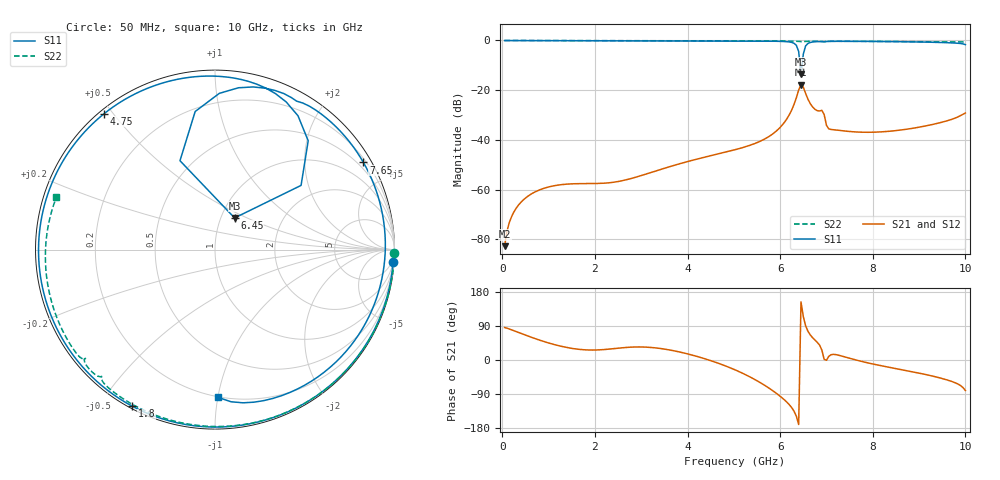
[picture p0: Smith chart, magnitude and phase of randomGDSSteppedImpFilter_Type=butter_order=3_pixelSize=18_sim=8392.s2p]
! freq	dB(S11)	phase(S11)	dB(S12)	phase(S12)
!  dB(S21)	phase(S21)	dB(S22)	phase(S22)
!S-par simulation data
#  GHz  S  DB  R 50
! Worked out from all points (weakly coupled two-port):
!   200 points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, 50 MHz to 10 GHz, reference 50 ohm
!   highest |S21| = -17.73 dB at 6.45 GHz (marker M1); lowest = -82.7 dB at 50 MHz (marker M2)
!   lowest |S11| = -13.7 dB at 6.45 GHz (marker M3), VSWR 1.52, Z = 58 + j21.4 ohm
!   |S11| at or under -10 dB: 6.43 GHz to 6.472 GHz (42.27 MHz wide, 0.655 % of centre)
!   |S22| runs from -0.6 to 0.0 dB; largest |S21 - S12| = 0
!   S11 on the Smith chart (normalised r, x): 50 MHz: 2, -30; 1.8 GHz: 0.01, -0.60; 4.75 GHz: 0.01, +0.47; 6.45 GHz: 1.16, +0.43; 7.65 GHz: 0.30, +3.65; 10 GHz: 0.20, -1.00
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0.05  -0.05 -3.8  -82.70 85.6  -82.70 85.6  -0.00 -1.2
0.25  -0.05 -19.2  -68.96 77.3  -68.96 77.3  -0.01 -5.7
0.55  -0.06 -41.5  -62.65 63.4  -62.65 63.4  -0.02 -12.5
1.1  -0.09 -78.7  -58.47 41.5  -58.47 41.5  -0.03 -24.9
1.75  -0.11 -115.3  -57.54 27.1  -57.54 27.1  -0.05 -39.2
1.8  -0.12 -117.9  -57.54 26.7  -57.54 26.7  -0.05 -40.3
3.4  -0.15 175.9  -51.96 30.6  -51.96 30.6  -0.10 -73.9
4.75  -0.20 129.2  -45.21 -12.4  -45.21 -12.4  -0.15 -100.3
5.05  -0.22 118.8  -43.80 -27.2  -43.80 -27.2  -0.16 -105.9
6.15  -0.51 72.6  -31.37 -111.8  -31.37 -111.8  -0.24 -126.5
6.35  -1.96 49.4  -23.00 -148.5  -23.00 -148.5  -0.31 -130.5
6.4  -4.46 36.7  -19.91 -170.2  -19.91 -170.2  -0.38 -131.5
6.45  -13.66 58.2  -17.73 153.6  -17.73 153.6  -0.47 -131.8
6.5  -5.48 111.5  -18.76 114.7  -18.76 114.7  -0.42 -131.9
6.55  -2.19 98.2  -21.32 90.2  -21.32 90.2  -0.35 -132.8
6.7  -0.62 76.8  -26.70 58.9  -26.70 58.9  -0.30 -135.9
6.9  -0.47 63.3  -28.10 26.5  -28.10 26.5  -0.44 -140.1
7.05  -0.38 56.6  -35.55 9.6  -35.55 9.6  -0.34 -141.5
7.65  -0.37 30.4  -36.80 -0.4  -36.80 -0.4  -0.34 -153.0
8.35  -0.45 0.9  -36.52 -19.2  -36.52 -19.2  -0.41 -165.9
9.25  -0.70 -40.5  -33.94 -41.3  -33.94 -41.3  -0.52 176.9
10  -1.69 -88.9  -29.18 -80.6  -29.18 -80.6  -0.63 161.8
